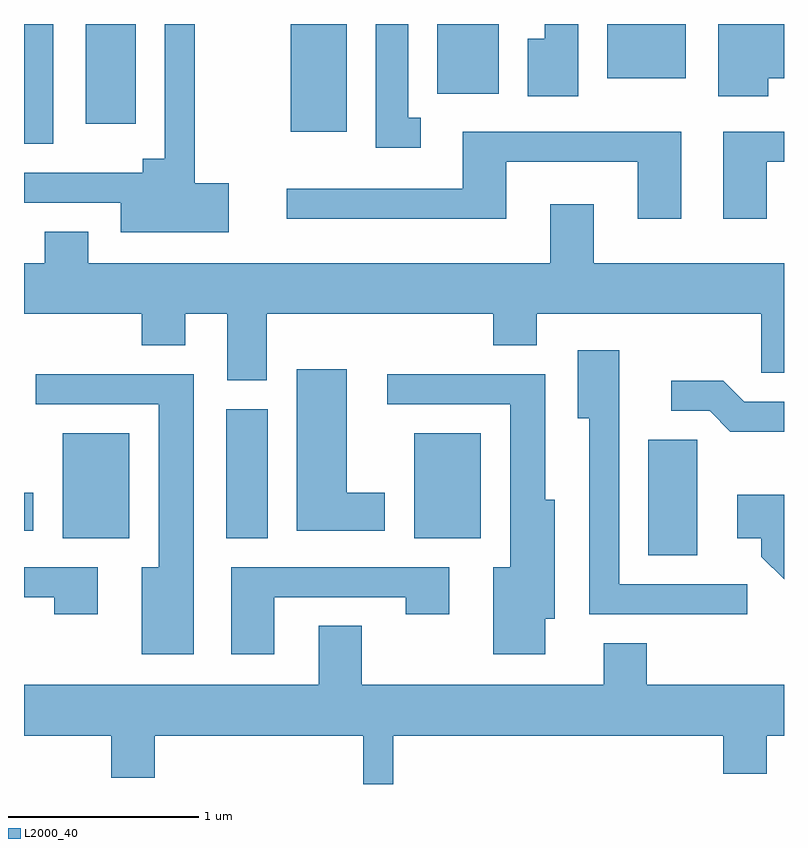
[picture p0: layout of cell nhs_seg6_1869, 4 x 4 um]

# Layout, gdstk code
import gdstk
lib = gdstk.Library(unit=1e-6, precision=1e-09)
def R(c, l, rs):  # rectangles x0, y0, x1, y1
    for r in rs: c.add(gdstk.rectangle(r[:2], r[2:], *l))
def P(c, l, *ps):  # polygons
    for p in ps: c.add(gdstk.Polygon(p, *l))
L2000_40 = (2000, 40)

nhs_seg6_1869 = lib.new_cell('nhs_seg6_1869')
R(nhs_seg6_1869, L2000_40, [(244.896,1615.366,245.154,1615.974), (241.816,1615.456,242.164,1616.009), (242.676,1615.456,242.894,1616.134), (243.666,1615.456,244.014,1616.009), (241.611,1615.496,241.659,1615.694), (241.611,1617.531,241.764,1618.162), (243.016,1617.596,243.309,1618.162), (241.936,1617.636,242.199,1618.162), (243.786,1617.796,244.109,1618.162), (244.681,1617.876,245.094,1618.162)])
P(nhs_seg6_1869, L2000_40, [(244.529,1618.162),(244.351,1618.162),(244.351,1618.084),(244.261,1618.084),(244.261,1617.781),(244.529,1617.781)],
  [(245.529,1617.876),(245.611,1617.876),(245.611,1618.162),(245.266,1618.162),(245.266,1617.781),(245.529,1617.781)],
  [(242.689,1617.324),(242.509,1617.324),(242.509,1618.162),(242.351,1618.162),(242.351,1617.454),(242.236,1617.454),(242.236,1617.379),(241.611,1617.379),(241.611,1617.221),(242.121,1617.221),(242.121,1617.066),(242.689,1617.066)],
  [(243.698,1617.669),(243.634,1617.669),(243.634,1618.162),(243.461,1618.162),(243.461,1617.511),(243.698,1617.511)],
  [(244.149,1617.436),(244.841,1617.436),(244.841,1617.136),(245.069,1617.136),(245.069,1617.594),(243.921,1617.594),(243.921,1617.294),(242.993,1617.294),(242.993,1617.136),(244.149,1617.136)],
  [(245.519,1617.436),(245.611,1617.436),(245.611,1617.594),(245.291,1617.594),(245.291,1617.136),(245.519,1617.136)],
  [(242.889,1616.636),(244.081,1616.636),(244.081,1616.471),(244.309,1616.471),(244.309,1616.636),(245.491,1616.636),(245.491,1616.326),(245.611,1616.326),(245.611,1616.904),(244.609,1616.904),(244.609,1617.214),(244.381,1617.214),(244.381,1616.904),(241.949,1616.904),(241.949,1617.069),(241.721,1617.069),(241.721,1616.904),(241.611,1616.904),(241.611,1616.636),(242.231,1616.636),(242.231,1616.471),(242.459,1616.471),(242.459,1616.636),(242.681,1616.636),(242.681,1616.286),(242.889,1616.286)],
  [(245.418,1615.214),(244.744,1615.214),(244.744,1616.444),(244.526,1616.444),(244.526,1616.086),(244.586,1616.086),(244.586,1615.056),(245.418,1615.056)],
  [(243.509,1615.694),(243.309,1615.694),(243.309,1616.344),(243.046,1616.344),(243.046,1615.496),(243.509,1615.496)],
  [(242.504,1616.319),(241.673,1616.319),(241.673,1616.161),(242.321,1616.161),(242.321,1615.304),(242.231,1615.304),(242.231,1614.846),(242.504,1614.846)],
  [(244.354,1615.031),(244.404,1615.031),(244.404,1615.659),(244.354,1615.659),(244.354,1616.319),(243.523,1616.319),(243.523,1616.161),(244.171,1616.161),(244.171,1615.304),(244.081,1615.304),(244.081,1614.846),(244.354,1614.846)],
  [(245.611,1616.174),(245.402,1616.174),(245.292,1616.284),(245.018,1616.284),(245.018,1616.126),(245.219,1616.126),(245.329,1616.016),(245.611,1616.016)],
  [(245.611,1615.684),(245.366,1615.684),(245.366,1615.456),(245.491,1615.456),(245.491,1615.359),(245.611,1615.239)],
  [(241.999,1615.304),(241.611,1615.304),(241.611,1615.146),(241.771,1615.146),(241.771,1615.056),(241.999,1615.056)],
  [(242.929,1615.146),(243.621,1615.146),(243.621,1615.056),(243.849,1615.056),(243.849,1615.304),(242.701,1615.304),(242.701,1614.846),(242.929,1614.846)],
  [(243.554,1614.416),(245.291,1614.416),(245.291,1614.216),(245.519,1614.216),(245.519,1614.416),(245.611,1614.416),(245.611,1614.684),(244.889,1614.684),(244.889,1614.904),(244.661,1614.904),(244.661,1614.684),(243.389,1614.684),(243.389,1614.994),(243.161,1614.994),(243.161,1614.684),(241.611,1614.684),(241.611,1614.416),(242.071,1614.416),(242.071,1614.196),(242.299,1614.196),(242.299,1614.416),(243.396,1614.416),(243.396,1614.162),(243.554,1614.162)])

lib.write_gds('nhs_seg6_1869.gds')
